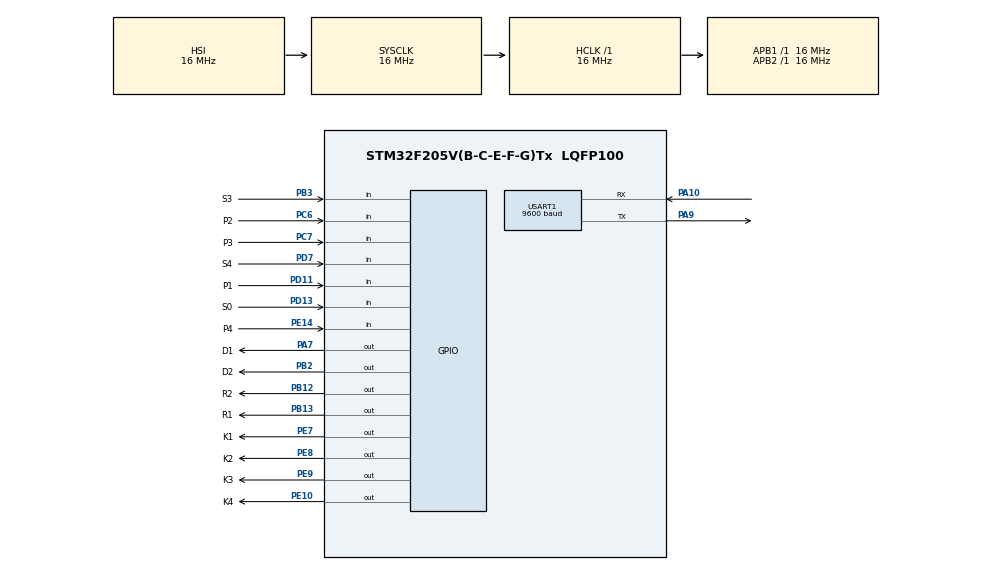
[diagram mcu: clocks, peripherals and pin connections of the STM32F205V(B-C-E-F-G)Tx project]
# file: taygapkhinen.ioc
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Mcu.Family=STM32F2
Mcu.Name=STM32F205V(B-C-E-F-G)Tx
Mcu.Package=LQFP100
NVIC.PriorityGroup=NVIC_PRIORITYGROUP_4
NVIC.USART1_IRQn=true\:0\:0\:false\:false\:true\:true\:true\:true
PA10.Mode=Asynchronous
PA10.Signal=USART1_RX
PA7.GPIO_Label=D1
PA7.GPIO_ModeDefaultOutputPP=GPIO_MODE_OUTPUT_PP
PA7.GPIO_PuPd=GPIO_PULLUP
PA7.Signal=GPIO_Output
PA9.Mode=Asynchronous
PA9.Signal=USART1_TX
PB12.GPIO_Label=R2
PB12.Signal=GPIO_Output
PB13.GPIO_Label=R1
PB13.Signal=GPIO_Output
PB2.GPIO_Label=D2
PB2.GPIO_PuPd=GPIO_PULLUP
PB2.Signal=GPIO_Output
PB3.GPIO_Label=S3
PB3.GPIO_PuPd=GPIO_PULLUP
PB3.Signal=GPIO_Input
PC6.GPIO_Label=P2
PC6.Signal=GPIO_Input
PC7.GPIO_Label=P3
PC7.Signal=GPIO_Input
PD11.GPIO_Label=P1
PD11.Signal=GPIO_Input
PD13.GPIO_Label=S0
PD13.GPIO_PuPd=GPIO_PULLDOWN
PD13.Signal=GPIO_Input
PD7.GPIO_Label=S4
PD7.GPIO_PuPd=GPIO_PULLUP
PD7.Signal=GPIO_Input
PE10.GPIO_Label=K4
PE10.Signal=GPIO_Output
PE14.GPIO_Label=P4
PE14.Signal=GPIO_Input
PE7.GPIO_Label=K1
PE7.Signal=GPIO_Output
PE8.GPIO_Label=K2
PE8.Signal=GPIO_Output
PE9.GPIO_Label=K3
PE9.Signal=GPIO_Output
ProjectManager.HeapSize=0x200
ProjectManager.StackSize=0x400
ProjectManager.TargetToolchain=MDK-ARM V5.32
RCC.48MHZClocksFreq_Value=48000000
RCC.AHBFreq_Value=16000000
RCC.APB1Freq_Value=16000000
RCC.APB2Freq_Value=16000000
RCC.CortexFreq_Value=16000000
RCC.HSE_VALUE=25000000
RCC.HSI_VALUE=16000000
RCC.LSE_VALUE=32768
RCC.SYSCLKFreq_VALUE=16000000
RCC.VCOOutputFreq_Value=192000000
USART1.BaudRate=9600
USART1.VirtualMode=VM_ASYNC
board=custom

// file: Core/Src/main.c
/* USER CODE BEGIN Header */
/**
  ******************************************************************************
  * @file           : main.c
  * @brief          : Main program body
  ******************************************************************************
  * @attention
  *
  * Copyright (c) 2024 STMicroelectronics.
  * All rights reserved.
  *
  * This software is licensed under terms that can be found in the LICENSE file
  * in the root directory of this software component.
  * If no LICENSE file comes with this software, it is provided AS-IS.
  *
  ******************************************************************************
  */
/* USER CODE END Header */
#include "main.h"

UART_HandleTypeDef huart1;

void SystemClock_Config(void);
static void MX_GPIO_Init(void);
static void MX_USART1_UART_Init(void);

/* USER CODE BEGIN 0 */
static char rx_data ;
#define BUTTON_PRESSED 0
#define Sen_on 0
		uint8_t SysState = 0;
		uint8_t B1= !BUTTON_PRESSED;
		uint8_t B2= !BUTTON_PRESSED;
		uint8_t F0= !Sen_on;
		uint8_t F4= !Sen_on;
void HAL_UART_RxCpltCallback(UART_HandleTypeDef *huart){
	HAL_UART_Receive_IT( &huart1, (uint8_t*)& rx_data , 1);
}
void on_motor(){
		B1 = HAL_GPIO_ReadPin(P1_GPIO_Port,P1_Pin);
		B2 = HAL_GPIO_ReadPin(P2_GPIO_Port,P2_Pin);
	  F0 = HAL_GPIO_ReadPin(S0_GPIO_Port,S0_Pin);
if ((SysState == 0)&& (B1 == BUTTON_PRESSED)){
	SysState = 1 ;
	HAL_GPIO_WritePin(K1_GPIO_Port,K1_Pin,0);
	HAL_GPIO_WritePin(K2_GPIO_Port,K2_Pin,1);

			}
else	if ((SysState == 1)&& (F0 == !Sen_on)&& (rx_data == 'a')){
	HAL_GPIO_WritePin(K3_GPIO_Port,K3_Pin,1);  //sng trai
	HAL_GPIO_WritePin(K2_GPIO_Port,K2_Pin,0); //xuong
	HAL_GPIO_WritePin(K1_GPIO_Port,K1_Pin,0); //kep

	SysState = 0 ;

}
}

/* USER CODE END 0 */

int main(void)
{

  /* USER CODE BEGIN 1 */
HAL_UART_Receive_IT( &huart1, (uint8_t*)& rx_data , 1);
  /* USER CODE END 1 */

  /* MCU Configuration--------------------------------------------------------*/

  /* Reset of all peripherals, Initializes the Flash interface and the Systick. */
  HAL_Init();

  /* Configure the system clock */
  SystemClock_Config();

  /* Initialize all configured peripherals */
  MX_GPIO_Init();
  MX_USART1_UART_Init();
  /* USER CODE BEGIN 2 */
//HAL_GPIO_WritePin(K2_GPIO_Port,K2_Pin, 1);

//HAL_GPIO_TogglePin(D2_GPIO_Port,D2_Pin);
//HAL_GPIO_TogglePin(D1_GPIO_Port,D1_Pin);
//HAL_GPIO_WritePin(D1_GPIO_Port,D1_Pin, 1);

//HAL_GPIO_WritePin(D2_GPIO_Port,D2_Pin, 1);

  /* USER CODE END 2 */

  /* Infinite loop */
  while (1)
  {

    /* USER CODE BEGIN 3 */
		HAL_UART_Transmit(&huart1,(uint8_t *)"Nguyen",6,100);
		HAL_Delay(100);
  }
  /* USER CODE END 3 */
}

void SystemClock_Config(void)
{
  RCC_OscInitTypeDef RCC_OscInitStruct = {0};
  RCC_ClkInitTypeDef RCC_ClkInitStruct = {0};

  /** Initializes the RCC Oscillators according to the specified parameters
  * in the RCC_OscInitTypeDef structure.
  */
  RCC_OscInitStruct.OscillatorType = RCC_OSCILLATORTYPE_HSI;
  RCC_OscInitStruct.HSIState = RCC_HSI_ON;
  RCC_OscInitStruct.HSICalibrationValue = RCC_HSICALIBRATION_DEFAULT;
  RCC_OscInitStruct.PLL.PLLState = RCC_PLL_NONE;
  if (HAL_RCC_OscConfig(&RCC_OscInitStruct) != HAL_OK)
  {
    Error_Handler();
  }

  /** Initializes the CPU, AHB and APB buses clocks
  */
  RCC_ClkInitStruct.ClockType = RCC_CLOCKTYPE_HCLK|RCC_CLOCKTYPE_SYSCLK
                              |RCC_CLOCKTYPE_PCLK1|RCC_CLOCKTYPE_PCLK2;
  RCC_ClkInitStruct.SYSCLKSource = RCC_SYSCLKSOURCE_HSI;
  RCC_ClkInitStruct.AHBCLKDivider = RCC_SYSCLK_DIV1;
  RCC_ClkInitStruct.APB1CLKDivider = RCC_HCLK_DIV1;
  RCC_ClkInitStruct.APB2CLKDivider = RCC_HCLK_DIV1;

  if (HAL_RCC_ClockConfig(&RCC_ClkInitStruct, FLASH_LATENCY_0) != HAL_OK)
  {
    Error_Handler();
  }
}

static void MX_USART1_UART_Init(void)
{

  huart1.Instance = USART1;
  huart1.Init.BaudRate = 9600;
  huart1.Init.WordLength = UART_WORDLENGTH_8B;
  huart1.Init.StopBits = UART_STOPBITS_1;
  huart1.Init.Parity = UART_PARITY_NONE;
  huart1.Init.Mode = UART_MODE_TX_RX;
  huart1.Init.HwFlowCtl = UART_HWCONTROL_NONE;
  huart1.Init.OverSampling = UART_OVERSAMPLING_16;
  if (HAL_UART_Init(&huart1) != HAL_OK)
  {
    Error_Handler();
  }

}

static void MX_GPIO_Init(void)
{
  GPIO_InitTypeDef GPIO_InitStruct = {0};

  /* GPIO Ports Clock Enable */
  __HAL_RCC_GPIOA_CLK_ENABLE();
  __HAL_RCC_GPIOB_CLK_ENABLE();
  __HAL_RCC_GPIOE_CLK_ENABLE();
  __HAL_RCC_GPIOD_CLK_ENABLE();
  __HAL_RCC_GPIOC_CLK_ENABLE();

  /*Configure GPIO pin Output Level */
  HAL_GPIO_WritePin(D1_GPIO_Port, D1_Pin, GPIO_PIN_RESET);

  /*Configure GPIO pin Output Level */
  HAL_GPIO_WritePin(GPIOB, D2_Pin|R2_Pin|R1_Pin, GPIO_PIN_RESET);

  /*Configure GPIO pin Output Level */
  HAL_GPIO_WritePin(GPIOE, K1_Pin|K2_Pin|K3_Pin|K4_Pin, GPIO_PIN_RESET);

  /*Configure GPIO pin : D1_Pin */
  GPIO_InitStruct.Pin = D1_Pin;
  GPIO_InitStruct.Mode = GPIO_MODE_OUTPUT_PP;
  GPIO_InitStruct.Pull = GPIO_PULLUP;
  GPIO_InitStruct.Speed = GPIO_SPEED_FREQ_LOW;
  HAL_GPIO_Init(D1_GPIO_Port, &GPIO_InitStruct);

  /*Configure GPIO pin : D2_Pin */
  GPIO_InitStruct.Pin = D2_Pin;
  GPIO_InitStruct.Mode = GPIO_MODE_OUTPUT_PP;
  GPIO_InitStruct.Pull = GPIO_PULLUP;
  GPIO_InitStruct.Speed = GPIO_SPEED_FREQ_LOW;
  HAL_GPIO_Init(D2_GPIO_Port, &GPIO_InitStruct);

  /*Configure GPIO pins : K1_Pin K2_Pin K3_Pin K4_Pin */
  GPIO_InitStruct.Pin = K1_Pin|K2_Pin|K3_Pin|K4_Pin;
  GPIO_InitStruct.Mode = GPIO_MODE_OUTPUT_PP;
  GPIO_InitStruct.Pull = GPIO_NOPULL;
  GPIO_InitStruct.Speed = GPIO_SPEED_FREQ_LOW;
  HAL_GPIO_Init(GPIOE, &GPIO_InitStruct);

  /*Configure GPIO pin : P4_Pin */
  GPIO_InitStruct.Pin = P4_Pin;
  GPIO_InitStruct.Mode = GPIO_MODE_INPUT;
  GPIO_InitStruct.Pull = GPIO_NOPULL;
  HAL_GPIO_Init(P4_GPIO_Port, &GPIO_InitStruct);

  /*Configure GPIO pins : R2_Pin R1_Pin */
  GPIO_InitStruct.Pin = R2_Pin|R1_Pin;
  GPIO_InitStruct.Mode = GPIO_MODE_OUTPUT_PP;
  GPIO_InitStruct.Pull = GPIO_NOPULL;
  GPIO_InitStruct.Speed = GPIO_SPEED_FREQ_LOW;
  HAL_GPIO_Init(GPIOB, &GPIO_InitStruct);

  /*Configure GPIO pin : P1_Pin */
  GPIO_InitStruct.Pin = P1_Pin;
  GPIO_InitStruct.Mode = GPIO_MODE_INPUT;
  GPIO_InitStruct.Pull = GPIO_NOPULL;
  HAL_GPIO_Init(P1_GPIO_Port, &GPIO_InitStruct);

  /*Configure GPIO pin : S0_Pin */
  GPIO_InitStruct.Pin = S0_Pin;
  GPIO_InitStruct.Mode = GPIO_MODE_INPUT;
  GPIO_InitStruct.Pull = GPIO_PULLDOWN;
  HAL_GPIO_Init(S0_GPIO_Port, &GPIO_InitStruct);

  /*Configure GPIO pins : P2_Pin P3_Pin */
  GPIO_InitStruct.Pin = P2_Pin|P3_Pin;
  GPIO_InitStruct.Mode = GPIO_MODE_INPUT;
  GPIO_InitStruct.Pull = GPIO_NOPULL;
  HAL_GPIO_Init(GPIOC, &GPIO_InitStruct);

  /*Configure GPIO pin : S4_Pin */
  GPIO_InitStruct.Pin = S4_Pin;
  GPIO_InitStruct.Mode = GPIO_MODE_INPUT;
  GPIO_InitStruct.Pull = GPIO_PULLUP;
  HAL_GPIO_Init(S4_GPIO_Port, &GPIO_InitStruct);

  /*Configure GPIO pin : S3_Pin */
  GPIO_InitStruct.Pin = S3_Pin;
  GPIO_InitStruct.Mode = GPIO_MODE_INPUT;
  GPIO_InitStruct.Pull = GPIO_PULLUP;
  HAL_GPIO_Init(S3_GPIO_Port, &GPIO_InitStruct);

}

void Error_Handler(void)
{
  __disable_irq();
  while (1)
  {
  }
}
